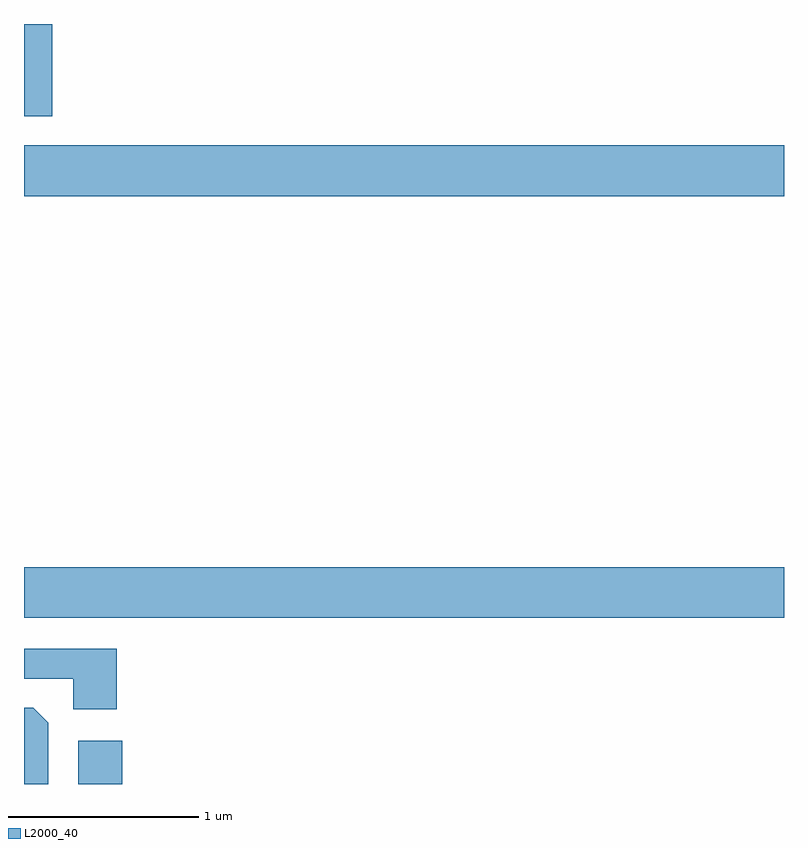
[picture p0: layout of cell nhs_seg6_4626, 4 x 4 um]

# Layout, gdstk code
import gdstk
lib = gdstk.Library(unit=1e-6, precision=1e-09)
def R(c, l, rs):  # rectangles x0, y0, x1, y1
    for r in rs: c.add(gdstk.rectangle(r[:2], r[2:], *l))
def P(c, l, *ps):  # polygons
    for p in ps: c.add(gdstk.Polygon(p, *l))
L2000_40 = (2000, 40)

nhs_seg6_4626 = lib.new_cell('nhs_seg6_4626')
R(nhs_seg6_4626, L2000_40, [(325.896,1660.162,326.129,1660.389), (325.611,1661.036,329.611,1661.304), (325.611,1663.256,329.611,1663.524), (325.611,1663.676,325.759,1664.162)])
P(nhs_seg6_4626, L2000_40, [(326.099,1660.874),(325.611,1660.874),(325.611,1660.716),(325.871,1660.716),(325.871,1660.556),(326.099,1660.556)],
  [(325.739,1660.484),(325.659,1660.564),(325.611,1660.564),(325.611,1660.162),(325.739,1660.162)])

lib.write_gds('nhs_seg6_4626.gds')
